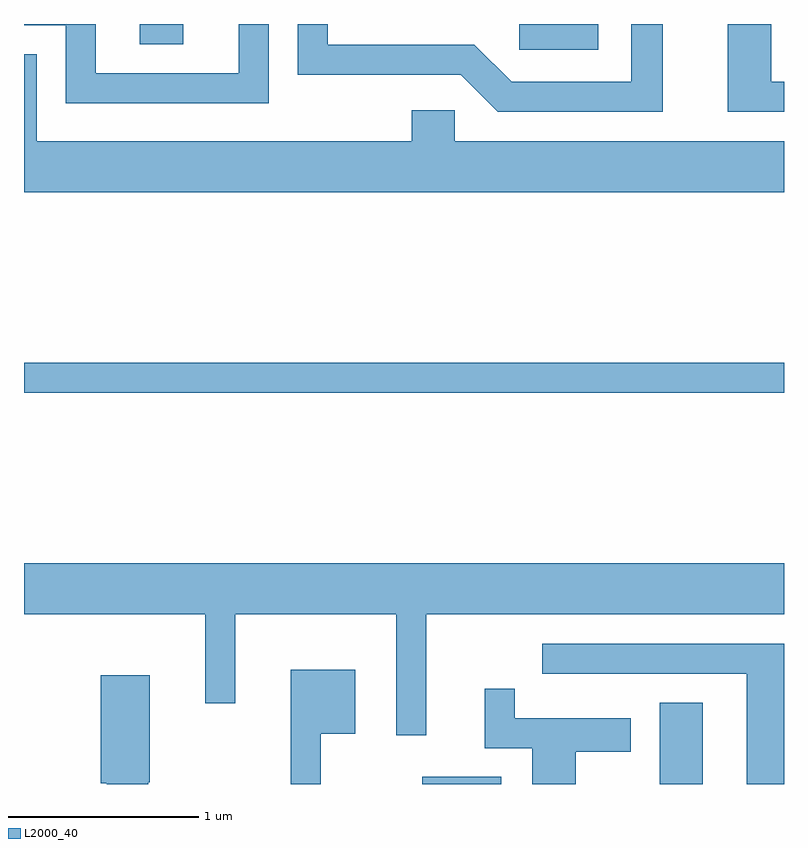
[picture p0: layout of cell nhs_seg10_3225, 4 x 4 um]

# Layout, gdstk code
import gdstk
lib = gdstk.Library(unit=1e-6, precision=1e-09)
def R(c, l, rs):  # rectangles x0, y0, x1, y1
    for r in rs: c.add(gdstk.rectangle(r[:2], r[2:], *l))
def P(c, l, *ps):  # polygons
    for p in ps: c.add(gdstk.Polygon(p, *l))
L2000_40 = (2000, 40)

nhs_seg10_3225 = lib.new_cell('nhs_seg10_3225')
R(nhs_seg10_3225, L2000_40, [(281.706,2168.522,282.124,2168.559), (282.956,2168.522,283.184,2168.949), (279.611,2170.581,283.611,2170.739), (282.218,2172.386,282.634,2172.522), (280.221,2172.416,280.449,2172.522)])
P(nhs_seg10_3225, L2000_40, [(280.899,2172.522),(280.741,2172.522),(280.741,2172.264),(279.989,2172.264),(279.989,2172.522),(279.611,2172.522),(279.611,2172.516),(279.831,2172.516),(279.831,2172.106),(280.899,2172.106)],
  [(282.974,2172.522),(282.806,2172.522),(282.806,2172.219),(282.177,2172.219),(281.982,2172.414),(281.209,2172.414),(281.209,2172.522),(281.051,2172.522),(281.051,2172.256),(281.909,2172.256),(282.104,2172.061),(282.974,2172.061)],
  [(283.611,2172.219),(283.544,2172.219),(283.544,2172.522),(283.316,2172.522),(283.316,2172.061),(283.611,2172.061)],
  [(283.611,2171.904),(281.879,2171.904),(281.879,2172.069),(281.651,2172.069),(281.651,2171.904),(279.679,2171.904),(279.679,2172.364),(279.611,2172.364),(279.611,2171.636),(283.611,2171.636)],
  [(281.729,2169.416),(283.611,2169.416),(283.611,2169.684),(279.611,2169.684),(279.611,2169.416),(280.566,2169.416),(280.566,2168.948),(280.724,2168.948),(280.724,2169.416),(281.571,2169.416),(281.571,2168.778),(281.729,2168.778)],
  [(283.611,2169.259),(282.338,2169.259),(282.338,2169.101),(283.416,2169.101),(283.416,2168.522),(283.611,2168.522)],
  [(281.174,2168.786),(281.354,2168.786),(281.354,2169.124),(281.016,2169.124),(281.016,2168.522),(281.174,2168.522)],
  [(280.264,2168.53),(280.274,2168.53),(280.274,2169.094),(280.016,2169.094),(280.016,2168.526),(280.046,2168.526),(280.046,2168.522),(280.264,2168.522)],
  [(282.514,2168.691),(282.804,2168.691),(282.804,2168.869),(282.194,2168.869),(282.194,2169.023),(282.036,2169.023),(282.036,2168.711),(282.286,2168.711),(282.286,2168.522),(282.514,2168.522)])

lib.write_gds('nhs_seg10_3225.gds')
